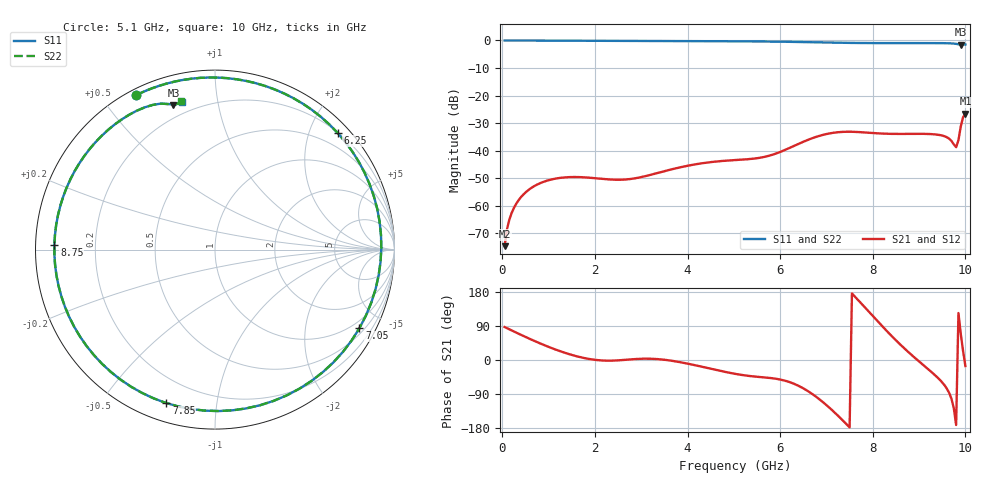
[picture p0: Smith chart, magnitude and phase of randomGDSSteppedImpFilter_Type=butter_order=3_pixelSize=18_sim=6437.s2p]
! freq	dB(S11)	phase(S11)	dB(S12)	phase(S12)
!  dB(S21)	phase(S21)	dB(S22)	phase(S22)
!S-par simulation data
#  GHz  S  DB  R 50
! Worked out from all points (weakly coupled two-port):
!   200 points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, 50 MHz to 10 GHz, reference 50 ohm
!   highest |S21| = -26.59 dB at 10 GHz (marker M1); lowest = -74.7 dB at 50 MHz (marker M2)
!   lowest |S11| = -1.5 dB at 9.9 GHz (marker M3), VSWR 11.42, Z = 6.83 + j37.2 ohm
!   |S11| at or under -10 dB: nowhere
!   |S22| runs from -1.6 to 0.0 dB; largest |S21 - S12| = 0
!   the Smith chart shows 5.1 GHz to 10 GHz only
!   S11 on the Smith chart (normalised r, x): 5.1 GHz: 0.02, +0.61; 6.25 GHz: 0.21, +2.48; 7.05 GHz: 0.70, -3.81; 7.85 GHz: 0.08, -0.73; 8.75 GHz: 0.06, +0.01; 10 GHz: 0.14, +0.79
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0.05  -0.00 -3.0  -74.67 87.0  -74.67 87.0  -0.00 -3.0
0.2  -0.02 -11.9  -62.70 78.2  -62.70 78.2  -0.02 -11.9
0.5  -0.04 -29.3  -55.19 60.9  -55.19 60.9  -0.04 -29.3
1.15  -0.08 -65.5  -50.14 27.6  -50.14 27.6  -0.08 -65.5
1.75  -0.11 -95.9  -49.66 5.6  -49.66 5.6  -0.11 -95.9
2.6  -0.14 -134.3  -50.53 -0.1  -50.53 -0.1  -0.14 -134.3
3.4  -0.17 -167.6  -47.90 1.9  -47.90 1.9  -0.17 -167.6
4.25  -0.22 156.9  -44.74 -16.1  -44.74 -16.1  -0.22 156.9
5.05  -0.29 119.5  -43.39 -37.0  -43.39 -37.0  -0.29 119.6
5.1  -0.30 116.9  -43.34 -38.1  -43.34 -38.1  -0.30 117.0
5.7  -0.39 82.6  -42.11 -46.4  -42.11 -46.4  -0.39 82.7
6.25  -0.51 43.6  -38.65 -60.4  -38.65 -60.4  -0.51 43.7
6.7  -0.64 5.1  -35.44 -90.3  -35.44 -90.3  -0.65 5.0
7.05  -0.76 -28.5  -33.80 -124.4  -33.80 -124.4  -0.76 -28.7
7.45  -0.88 -68.7  -33.14 -171.7  -33.14 -171.7  -0.88 -69.0
7.85  -0.94 -107.6  -33.42 136.1  -33.42 136.1  -0.94 -108.0
8.35  -0.97 -151.2  -33.89 70.5  -33.89 70.5  -0.97 -151.6
8.75  -0.96 178.3  -33.90 23.0  -33.90 23.0  -0.96 177.9
9.5  -0.98 128.8  -34.52 -59.2  -34.52 -59.2  -0.98 128.4
9.8  -1.23 110.3  -38.74 -171.5  -38.74 -171.5  -1.26 110.0
9.9  -1.53 106.0  -31.24 69.0  -31.24 69.0  -1.57 105.9
10  -1.47 102.5  -26.59 -16.1  -26.59 -16.1  -1.43 102.8
